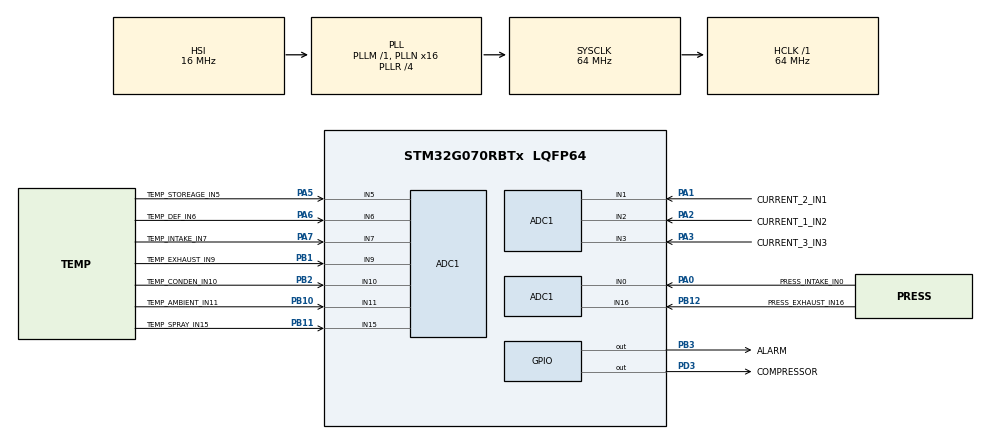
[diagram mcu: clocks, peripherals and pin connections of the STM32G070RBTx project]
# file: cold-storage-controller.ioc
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ADC1.ContinuousConvMode=ENABLE
ADC1.DMAContinuousRequests=ENABLE
ADC1.NbrOfConversion=1
ADC1.NbrOfConversionFlag=0
ADC1.OversamplingMode=DISABLE
ADC1.SamplingTimeCommon1=ADC_SAMPLETIME_160CYCLES_5
ADC1.SelectedChannel=ADC_CHANNEL_0|ADC_CHANNEL_1|ADC_CHANNEL_2|ADC_CHANNEL_3|ADC_CHANNEL_5|ADC_CHANNEL_6|ADC_CHANNEL_7|ADC_CHANNEL_9|ADC_CHANNEL_10|ADC_CHANNEL_11|ADC_CHANNEL_15|ADC_CHANNEL_16
ADC1.Sequencer=NOT_FULLY_CONFIGURABLE
ADC1.master=1
Dma.ADC1.0.Direction=DMA_PERIPH_TO_MEMORY
Dma.ADC1.0.EventEnable=DISABLE
Dma.ADC1.0.Instance=DMA1_Channel1
Dma.ADC1.0.MemDataAlignment=DMA_MDATAALIGN_HALFWORD
Dma.ADC1.0.MemInc=DMA_MINC_ENABLE
Dma.ADC1.0.Mode=DMA_CIRCULAR
Dma.ADC1.0.PeriphDataAlignment=DMA_PDATAALIGN_HALFWORD
Dma.ADC1.0.PeriphInc=DMA_PINC_DISABLE
Dma.ADC1.0.Polarity=HAL_DMAMUX_REQ_GEN_RISING
Dma.ADC1.0.Priority=DMA_PRIORITY_LOW
Dma.ADC1.0.RequestNumber=1
Dma.ADC1.0.SignalID=NONE
Dma.ADC1.0.SyncEnable=DISABLE
Dma.ADC1.0.SyncPolarity=HAL_DMAMUX_SYNC_NO_EVENT
Dma.ADC1.0.SyncRequestNumber=1
Dma.ADC1.0.SyncSignalID=NONE
Dma.Request0=ADC1
Mcu.Family=STM32G0
Mcu.Name=STM32G070RBTx
Mcu.Package=LQFP64
NVIC.ADC1_IRQn=true\:0\:0\:false\:false\:true\:true\:true\:true
NVIC.DMA1_Channel1_IRQn=true\:0\:0\:false\:false\:true\:false\:true\:true
PA0.GPIO_Label=PRESS_INTAKE_IN0
PA0.Mode=IN0
PA0.Signal=ADC1_IN0
PA1.GPIO_Label=CURRENT_2_IN1
PA1.Mode=IN1
PA1.Signal=ADC1_IN1
PA13.Mode=Serial_Wire
PA13.Signal=SYS_SWDIO
PA14-BOOT0.Mode=Serial_Wire
PA14-BOOT0.Signal=SYS_SWCLK
PA2.GPIO_Label=CURRENT_1_IN2
PA2.Mode=IN2
PA2.Signal=ADC1_IN2
PA3.GPIO_Label=CURRENT_3_IN3
PA3.Mode=IN3
PA3.Signal=ADC1_IN3
PA5.GPIO_Label=TEMP_STOREAGE_IN5
PA5.Mode=IN5
PA5.Signal=ADC1_IN5
PA6.GPIO_Label=TEMP_DEF_IN6
PA6.Mode=IN6
PA6.Signal=ADC1_IN6
PA7.GPIO_Label=TEMP_INTAKE_IN7
PA7.Mode=IN7
PA7.Signal=ADC1_IN7
PB1.GPIO_Label=TEMP_EXHAUST_IN9
PB1.Mode=IN9
PB1.Signal=ADC1_IN9
PB10.GPIO_Label=TEMP_AMBIENT_IN11
PB10.Mode=IN11
PB10.Signal=ADC1_IN11
PB11.GPIO_Label=TEMP_SPRAY_IN15
PB11.Mode=IN15
PB11.Signal=ADC1_IN15
PB12.GPIO_Label=PRESS_EXHAUST_IN16
PB12.Mode=IN16
PB12.Signal=ADC1_IN16
PB2.GPIO_Label=TEMP_CONDEN_IN10
PB2.Mode=IN10
PB2.Signal=ADC1_IN10
PB3.GPIO_Label=ALARM
PB3.Signal=GPIO_Output
PD3.GPIO_Label=COMPRESSOR
PD3.Signal=GPIO_Output
PF0-OSC_IN\ (PF0).Mode=HSE-External-Oscillator
PF0-OSC_IN\ (PF0).Signal=RCC_OSC_IN
PF1-OSC_OUT\ (PF1).Mode=HSE-External-Oscillator
PF1-OSC_OUT\ (PF1).Signal=RCC_OSC_OUT
ProjectManager.HeapSize=0x200
ProjectManager.StackSize=0x400
ProjectManager.TargetToolchain=CMake
RCC.ADCFreq_Value=64000000
RCC.AHBFreq_Value=64000000
RCC.CortexFreq_Value=64000000
RCC.EXTERNAL_CLOCK_VALUE=48000
RCC.HCLKFreq_Value=64000000
RCC.HSE_VALUE=8000000
RCC.HSI_VALUE=16000000
RCC.LSE_VALUE=32768
RCC.PLLN=16
RCC.PLLR=RCC_PLLR_DIV4
RCC.SYSCLKFreq_VALUE=64000000
RCC.SYSCLKSource=RCC_SYSCLKSOURCE_PLLCLK
RCC.VCOOutputFreq_Value=256000000
VP_SYS_VS_DBSignals.Mode=DisableDeadBatterySignals
board=custom

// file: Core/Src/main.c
/* USER CODE BEGIN Header */
/**
  ******************************************************************************
  * @file           : main.c
  * @brief          : Main program body
  ******************************************************************************
  * @attention
  *
  * Copyright (c) 2026 STMicroelectronics.
  * All rights reserved.
  *
  * This software is licensed under terms that can be found in the LICENSE file
  * in the root directory of this software component.
  * If no LICENSE file comes with this software, it is provided AS-IS.
  *
  ******************************************************************************
  */
/* USER CODE END Header */
#include "main.h"
#include "adc.h"
#include "dma.h"
#include "gpio.h"

/* USER CODE BEGIN Includes */
#include "FreeRTOS.h"
#include "stm32g0xx_hal_adc.h"
#include "task.h"
#include "../../APP/include/compressor.h"
#include "../../APP/include/alarm.h"
#include <stdint.h>
#include "adc_app.h"
/* USER CODE END Includes */

void SystemClock_Config(void);

int main(void)
{

  /* MCU Configuration--------------------------------------------------------*/

  /* Reset of all peripherals, Initializes the Flash interface and the Systick. */
  HAL_Init();

  /* Configure the system clock */
  SystemClock_Config();

  /* Initialize all configured peripherals */
  MX_GPIO_Init();
  MX_DMA_Init();
  MX_ADC1_Init();

  /* Infinite loop */
  /* USER CODE BEGIN WHILE */
  xTaskCreate(compressor_main, "compressor main function", 128, NULL, 1, NULL);
  xTaskCreate(adc_task, "ADC", 256, NULL, 1, &adcTaskHandle);
  vTaskStartScheduler();
  while (1)
  {
    /* USER CODE END WHILE */

  }
}

void SystemClock_Config(void)
{
  RCC_OscInitTypeDef RCC_OscInitStruct = {0};
  RCC_ClkInitTypeDef RCC_ClkInitStruct = {0};

  /** Configure the main internal regulator output voltage
  */
  HAL_PWREx_ControlVoltageScaling(PWR_REGULATOR_VOLTAGE_SCALE1);

  /** Initializes the RCC Oscillators according to the specified parameters
  * in the RCC_OscInitTypeDef structure.
  */
  RCC_OscInitStruct.OscillatorType = RCC_OSCILLATORTYPE_HSI;
  RCC_OscInitStruct.HSIState = RCC_HSI_ON;
  RCC_OscInitStruct.HSIDiv = RCC_HSI_DIV1;
  RCC_OscInitStruct.HSICalibrationValue = RCC_HSICALIBRATION_DEFAULT;
  RCC_OscInitStruct.PLL.PLLState = RCC_PLL_ON;
  RCC_OscInitStruct.PLL.PLLSource = RCC_PLLSOURCE_HSI;
  RCC_OscInitStruct.PLL.PLLM = RCC_PLLM_DIV1;
  RCC_OscInitStruct.PLL.PLLN = 16;
  RCC_OscInitStruct.PLL.PLLP = RCC_PLLP_DIV2;
  RCC_OscInitStruct.PLL.PLLR = RCC_PLLR_DIV4;
  if (HAL_RCC_OscConfig(&RCC_OscInitStruct) != HAL_OK)
  {
    Error_Handler();
  }

  /** Initializes the CPU, AHB and APB buses clocks
  */
  RCC_ClkInitStruct.ClockType = RCC_CLOCKTYPE_HCLK|RCC_CLOCKTYPE_SYSCLK
                              |RCC_CLOCKTYPE_PCLK1;
  RCC_ClkInitStruct.SYSCLKSource = RCC_SYSCLKSOURCE_PLLCLK;
  RCC_ClkInitStruct.AHBCLKDivider = RCC_SYSCLK_DIV1;
  RCC_ClkInitStruct.APB1CLKDivider = RCC_HCLK_DIV1;

  if (HAL_RCC_ClockConfig(&RCC_ClkInitStruct, FLASH_LATENCY_2) != HAL_OK)
  {
    Error_Handler();
  }
}

/* USER CODE BEGIN 4 */

void vApplicationTickHook(void)
{
    HAL_IncTick();
}

void vApplicationStackOverflowHook(TaskHandle_t xTask, char *pcTaskName)
{
    (void)xTask;
    (void)pcTaskName;
    /* stack overflow debug here*/
    while(1);
}

void vApplicationMallocFailedHook(void)
{
    /* heap malloc failed debug here*/
    while(1);
}

/* USER CODE END 4 */

void Error_Handler(void)
{
  __disable_irq();
  while (1)
  {
  }
}
